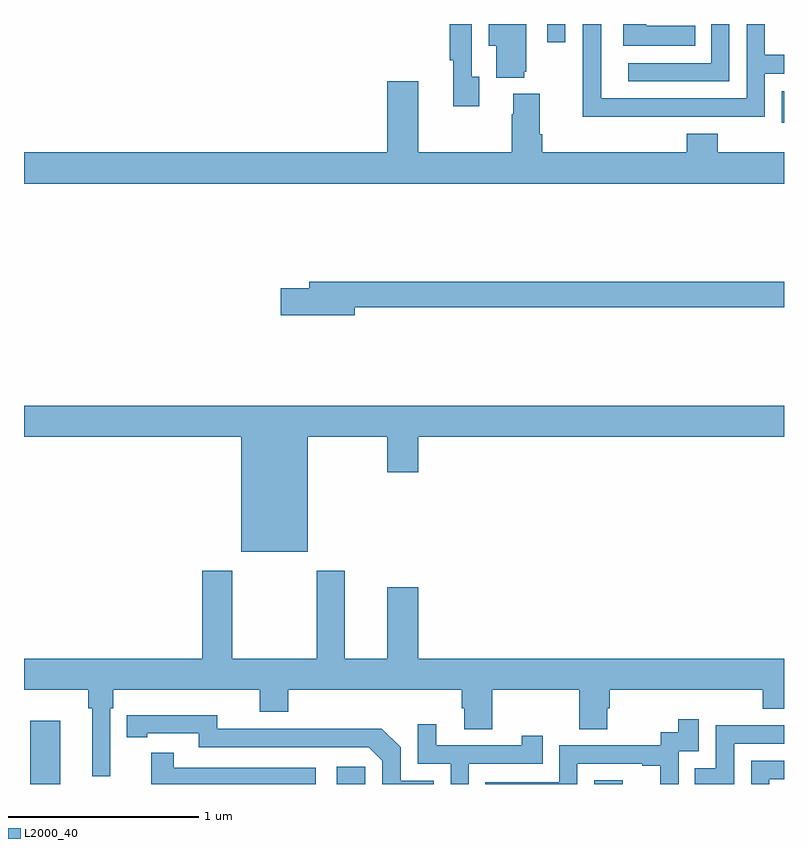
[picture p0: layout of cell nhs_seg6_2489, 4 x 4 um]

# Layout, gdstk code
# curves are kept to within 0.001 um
import gdstk
lib = gdstk.Library(unit=1e-6, precision=1e-09)
def R(c, l, rs):  # rectangles x0, y0, x1, y1
    for r in rs: c.add(gdstk.rectangle(r[:2], r[2:], *l))
def P(c, l, *ps):  # polygons
    for p in ps: c.add(gdstk.Polygon(p, *l))
L2000_40 = (2000, 40)

nhs_seg6_2489 = lib.new_cell('nhs_seg6_2489')
R(nhs_seg6_2489, L2000_40, [(259.034,953.5,259.192,953.833), (260.646,953.5,260.796,953.59), (262.002,953.5,262.15,953.521), (262.989,956.979,263,957.147), (261.753,957.405,261.849,957.5)])
P(nhs_seg6_2489, L2000_40, [(262.532,957.49),(262.275,957.49),(262.275,957.5),(262.154,957.5),(262.154,957.386),(262.532,957.386)],
  [(262.713,957.5),(262.617,957.5),(262.617,957.294),(262.179,957.294),(262.179,957.198),(262.713,957.198)],
  [(262.403,957.012),(262.899,957.012),(262.899,957.237),(263,957.237),(263,957.338),(262.899,957.338),(262.899,957.5),(262.803,957.5),(262.803,957.108),(262.038,957.108),(262.038,957.5),(261.942,957.5),(261.942,957.317),(261.94,957.317),(261.94,957.011),(262.403,957.011)],
  [(261.397,957.222),(261.357,957.222),(261.357,957.5),(261.241,957.5),(261.241,957.31),(261.26,957.31),(261.26,957.066),(261.397,957.066)],
  [(261.632,957.249),(261.643,957.249),(261.643,957.5),(261.446,957.5),(261.446,957.386),(261.485,957.386),(261.485,957.218),(261.632,957.218)],
  [(263,956.824),(262.652,956.824),(262.652,956.923),(262.487,956.923),(262.487,956.824),(261.728,956.824),(261.728,956.92),(261.715,956.92),(261.715,957.133),(261.575,957.133),(261.575,957.026),(261.568,957.026),(261.568,956.824),(261.076,956.824),(261.076,957.199),(260.912,957.199),(260.912,956.824),(259,956.824),(259,956.66),(263,956.66)],
  [(260.74,956.008),(263,956.008),(263,956.144),(260.501,956.144),(260.501,956.108),(260.352,956.108),(260.352,955.966),(260.74,955.966)],
  [(260.494,955.328),(260.912,955.328),(260.912,955.14),(261.076,955.14),(261.076,955.328),(263,955.328),(263,955.492),(259,955.492),(259,955.328),(260.144,955.328),(260.144,954.722),(260.494,954.722)],
  [(259.455,953.9),(259.469,953.9),(259.469,953.996),(260.24,953.996),(260.24,953.879),(260.392,953.879),(260.392,953.996),(261.305,953.996),(261.305,953.898),(261.317,953.898),(261.317,953.788),(261.465,953.788),(261.465,953.996),(261.922,953.996),(261.922,953.788),(262.069,953.788),(262.069,953.898),(262.082,953.898),(262.082,953.996),(262.889,953.996),(262.889,953.897),(263,953.897),(263,954.16),(261.076,954.16),(261.076,954.535),(260.912,954.535),(260.912,954.16),(260.689,954.16),(260.689,954.622),(260.541,954.622),(260.541,954.16),(260.097,954.16),(260.097,954.622),(259.937,954.622),(259.937,954.16),(259,954.16),(259,953.996),(259.339,953.996),(259.339,953.9),(259.358,953.9),(259.358,953.541),(259.455,953.541)],
  [(261.156,953.517),(260.982,953.517),(260.982,953.694),(260.884,953.792),(260.476,953.792),(260.476,953.79),(260.016,953.79),(260.016,953.863),(259.54,953.862),(259.54,953.746),(259.648,953.746),(259.648,953.766),(259.92,953.766),(259.92,953.694),(260.814,953.694),(260.886,953.622),(260.886,953.5),(261.156,953.5)],
  [(261.912,953.607),(262.253,953.607),(262.253,953.595),(262.349,953.595),(262.349,953.5),(262.446,953.5),(262.446,953.673),(262.551,953.673),(262.551,953.842),(262.443,953.842),(262.443,953.772),(262.35,953.772),(262.35,953.703),(261.816,953.703),(261.816,953.508),(261.427,953.508),(261.427,953.5),(261.912,953.5)],
  [(261.342,953.607),(261.731,953.607),(261.731,953.755),(261.62,953.755),(261.62,953.703),(261.169,953.703),(261.169,953.815),(261.072,953.815),(261.072,953.607),(261.246,953.607),(261.246,953.5),(261.342,953.5)],
  [(262.737,953.712),(263,953.712),(263,953.808),(262.641,953.808),(262.641,953.583),(262.531,953.583),(262.531,953.5),(262.737,953.5)],
  [(260.536,953.586),(259.787,953.586),(259.787,953.665),(259.67,953.665),(259.67,953.5),(260.536,953.5)],
  [(262.923,953.526),(263,953.526),(263,953.622),(262.827,953.622),(262.827,953.5),(262.923,953.5)])

lib.write_gds('nhs_seg6_2489.gds')
